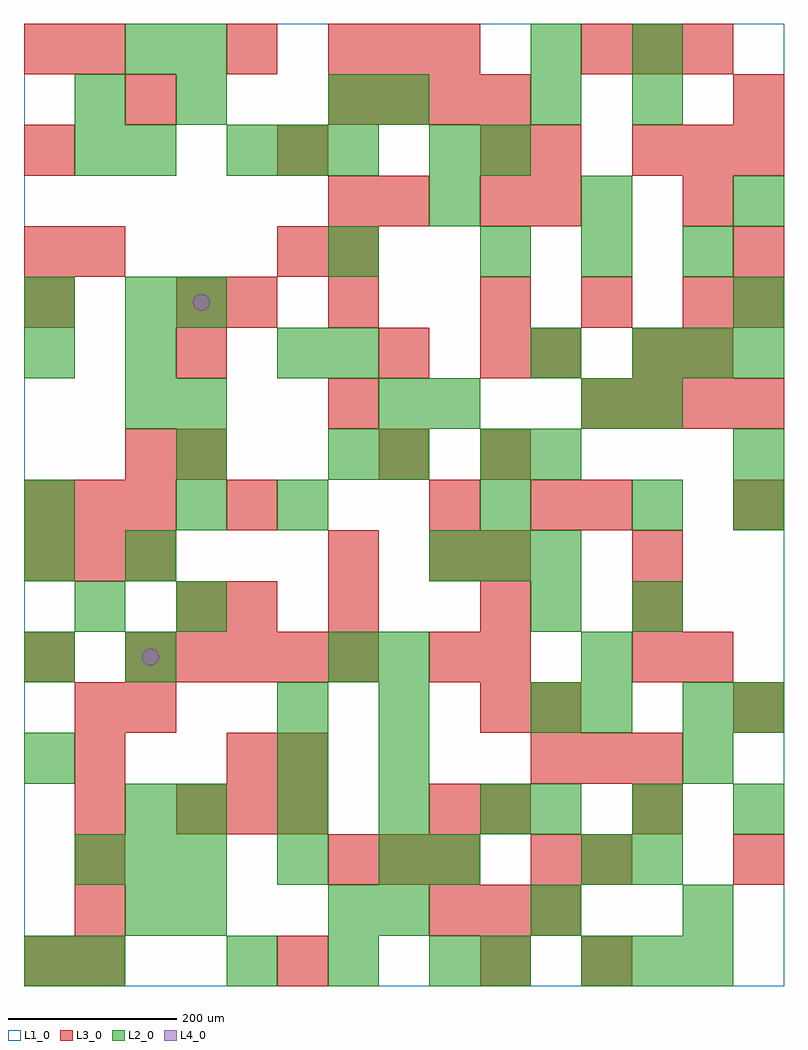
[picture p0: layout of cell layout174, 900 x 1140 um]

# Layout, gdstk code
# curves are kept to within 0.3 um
import gdstk
lib = gdstk.Library(unit=1e-6, precision=1e-09)
def R(c, l, rs):  # rectangles x0, y0, x1, y1
    for r in rs: c.add(gdstk.rectangle(r[:2], r[2:], *l))
def A(c, l, x, y, w, h, nx, ny, dx, dy):  # array of equal rectangles
    R(c, l, [(x+i*dx, y+j*dy, x+i*dx+w, y+j*dy+h) for i in range(nx) for j in range(ny)])
def P(c, l, *ps):  # polygons
    for p in ps: c.add(gdstk.Polygon(p, *l))
L1_0 = (1, 0)
L2_0 = (2, 0)
L3_0 = (3, 0)
L4_0 = (4, 0)

layout174 = lib.new_cell('layout174')
R(layout174, L1_0, [(0,0,900,1140)])
A(layout174, L2_0, 240, 0, 60, 60, 3, 1, 120, 0)
A(layout174, L2_0, 660, 0, 60, 60, 3, 1, 60, 0)
A(layout174, L2_0, 420, 60, 60, 60, 3, 1, 180, 0)
A(layout174, L2_0, 60, 120, 60, 60, 3, 1, 60, 0)
A(layout174, L2_0, 180, 180, 60, 60, 4, 1, 120, 0)
A(layout174, L2_0, 600, 180, 60, 60, 3, 1, 120, 0)
A(layout174, L2_0, 0, 240, 60, 60, 1, 3, 0, 120)
A(layout174, L2_0, 420, 240, 60, 60, 1, 3, 0, 60)
A(layout174, L2_0, 720, 420, 60, 60, 1, 3, 0, 120)
A(layout174, L2_0, 480, 480, 60, 60, 3, 1, 60, 0)
A(layout174, L2_0, 180, 540, 60, 60, 1, 3, 0, 60)
A(layout174, L2_0, 360, 600, 60, 60, 1, 3, 0, 120)
A(layout174, L2_0, 120, 660, 60, 60, 1, 3, 0, 60)
A(layout174, L2_0, 720, 720, 60, 60, 3, 1, 60, 0)
A(layout174, L2_0, 540, 840, 60, 60, 3, 1, 120, 0)
A(layout174, L2_0, 480, 900, 60, 60, 3, 1, 180, 0)
A(layout174, L2_0, 240, 960, 60, 60, 3, 1, 60, 0)
R(layout174, L2_0, [(0,0,60,60), (60,0,120,60), (540,0,600,60), (120,60,180,120), (180,60,240,120), (360,60,420,120), (300,120,360,180), (420,120,480,180), (480,120,540,180), (660,120,720,180), (720,120,780,180), (120,180,180,240), (300,240,360,300), (780,240,840,300), (300,300,360,360), (600,300,660,360), (660,300,720,360), (780,300,840,360), (840,300,900,360), (120,360,180,420), (360,360,420,420), (660,360,720,420), (60,420,120,480), (180,420,240,480), (600,420,660,480), (120,480,180,540), (0,540,60,600), (300,540,360,600), (540,540,600,600), (840,540,900,600), (420,600,480,660), (540,600,600,660), (600,600,660,660), (840,600,900,660), (420,660,480,720), (480,660,540,720), (660,660,720,720), (0,720,60,780), (300,720,360,780), (600,720,660,780), (0,780,60,840), (180,780,240,840), (840,780,900,840), (60,960,120,1020), (120,960,180,1020), (480,960,540,1020), (540,960,600,1020), (60,1020,120,1080), (180,1020,240,1080), (360,1020,420,1080), (420,1020,480,1080), (600,1020,660,1080), (720,1020,780,1080), (120,1080,180,1140), (180,1080,240,1140), (600,1080,660,1140), (720,1080,780,1140)])
A(layout174, L3_0, 60, 0, 60, 60, 3, 1, 240, 0)
A(layout174, L3_0, 60, 60, 60, 60, 1, 5, 0, 60)
A(layout174, L3_0, 480, 60, 60, 60, 3, 1, 60, 0)
A(layout174, L3_0, 360, 120, 60, 60, 3, 2, 60, 960)
A(layout174, L3_0, 180, 180, 60, 60, 3, 1, 60, 0)
A(layout174, L3_0, 600, 240, 60, 60, 3, 1, 60, 0)
A(layout174, L3_0, 840, 300, 60, 60, 1, 3, 0, 240)
A(layout174, L3_0, 120, 360, 60, 60, 5, 1, 60, 0)
A(layout174, L3_0, 540, 360, 60, 60, 1, 4, 0, 120)
A(layout174, L3_0, 360, 420, 60, 60, 3, 1, 180, 0)
A(layout174, L3_0, 0, 480, 60, 60, 3, 2, 60, 60)
A(layout174, L3_0, 600, 540, 60, 60, 1, 3, 0, 180)
A(layout174, L3_0, 660, 660, 60, 60, 4, 1, 60, 0)
A(layout174, L3_0, 360, 780, 60, 60, 1, 3, 0, 60)
A(layout174, L3_0, 540, 780, 60, 60, 3, 1, 120, 0)
A(layout174, L3_0, 0, 840, 60, 60, 1, 3, 0, 120)
A(layout174, L3_0, 720, 960, 60, 60, 3, 1, 60, 0)
A(layout174, L3_0, 360, 1020, 60, 60, 4, 1, 60, 0)
A(layout174, L3_0, 660, 1080, 60, 60, 3, 1, 60, 0)
R(layout174, L3_0, [(0,0,60,60), (660,0,720,60), (600,120,660,180), (660,120,720,180), (840,120,900,180), (480,180,540,240), (540,180,600,240), (720,180,780,240), (240,240,300,300), (300,240,360,300), (120,300,180,360), (540,300,600,360), (600,300,660,360), (0,360,60,420), (480,360,540,420), (720,360,780,420), (780,360,840,420), (180,420,240,480), (240,420,300,480), (360,480,420,540), (480,480,540,540), (720,480,780,540), (240,540,300,600), (480,540,540,600), (660,540,720,600), (120,600,180,660), (180,600,240,660), (420,600,480,660), (360,660,420,720), (180,720,240,780), (420,720,480,780), (720,720,780,780), (780,720,840,780), (0,780,60,840), (180,780,240,840), (240,780,300,840), (60,840,120,900), (300,840,360,900), (840,840,900,900), (420,900,480,960), (540,900,600,960), (780,900,840,960), (300,960,360,1020), (540,960,600,1020), (600,960,660,1020), (120,1020,180,1080), (840,1020,900,1080), (60,1080,120,1140), (240,1080,300,1140)])
P(layout174, L4_0, [(160,390),(159.239,393.827),(157.071,397.071),(153.827,399.239),(150,400),(146.173,399.239),(142.929,397.071),(140.761,393.827),(140,390),(140.761,386.173),(142.929,382.929),(146.173,380.761),(150,380),(153.827,380.761),(157.071,382.929),(159.239,386.173)],
  [(220,810),(219.239,813.827),(217.071,817.071),(213.827,819.239),(210,820),(206.173,819.239),(202.929,817.071),(200.761,813.827),(200,810),(200.761,806.173),(202.929,802.929),(206.173,800.761),(210,800),(213.827,800.761),(217.071,802.929),(219.239,806.173)])

lib.write_gds('layout174.gds')
